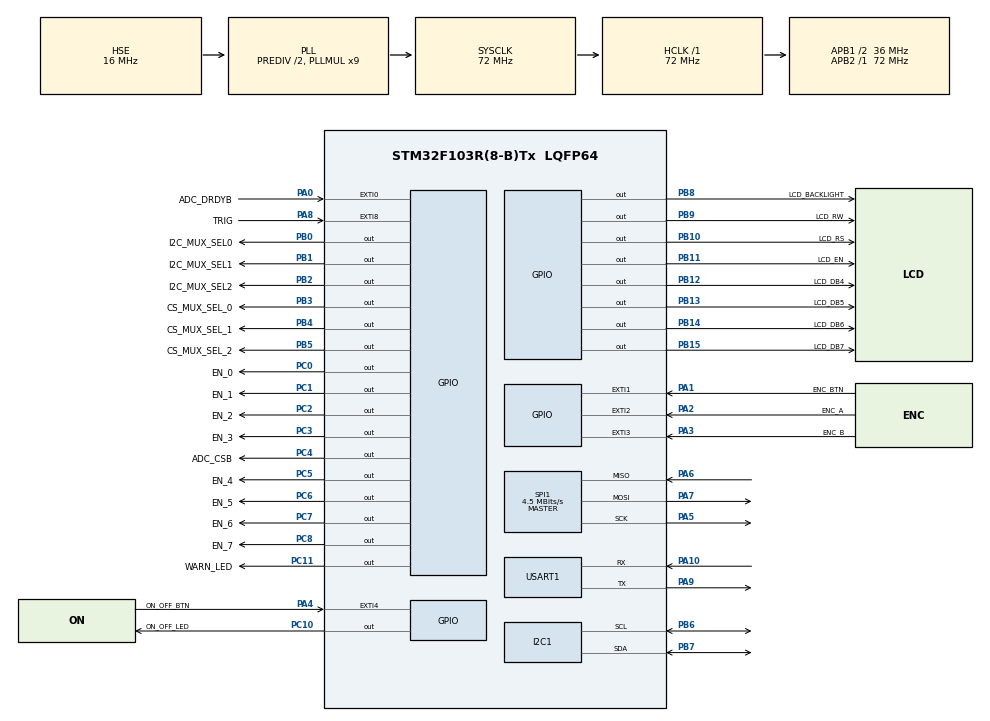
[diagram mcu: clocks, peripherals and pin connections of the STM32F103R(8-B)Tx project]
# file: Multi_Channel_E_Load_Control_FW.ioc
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Mcu.Family=STM32F1
Mcu.Name=STM32F103R(8-B)Tx
Mcu.Package=LQFP64
NVIC.I2C1_ER_IRQn=true\:0\:0\:false\:false\:true\:true\:true\:true
NVIC.I2C1_EV_IRQn=true\:0\:0\:false\:false\:true\:true\:true\:true
NVIC.PriorityGroup=NVIC_PRIORITYGROUP_4
NVIC.TIM1_BRK_IRQn=true\:0\:0\:false\:false\:true\:true\:true\:true
NVIC.TIM1_CC_IRQn=true\:0\:0\:false\:false\:true\:true\:true\:true
NVIC.TIM1_TRG_COM_IRQn=true\:0\:0\:false\:false\:true\:true\:true\:true
NVIC.TIM1_UP_IRQn=true\:0\:0\:false\:false\:true\:true\:true\:true
PA0-WKUP.GPIO_Label=ADC_DRDYB
PA0-WKUP.GPIO_ModeDefaultEXTI=GPIO_MODE_IT_FALLING
PA0-WKUP.GPIO_PuPd=GPIO_PULLUP
PA0-WKUP.Signal=GPXTI0
PA1.GPIO_Label=ENC_BTN
PA1.GPIO_ModeDefaultEXTI=GPIO_MODE_IT_RISING
PA1.GPIO_PuPd=GPIO_NOPULL
PA1.Signal=GPXTI1
PA10.Mode=Asynchronous
PA10.Signal=USART1_RX
PA13.Mode=Serial_Wire
PA13.Signal=SYS_JTMS-SWDIO
PA14.Mode=Serial_Wire
PA14.Signal=SYS_JTCK-SWCLK
PA2.GPIO_Label=ENC_A
PA2.GPIO_ModeDefaultEXTI=GPIO_MODE_IT_RISING_FALLING
PA2.Signal=GPXTI2
PA3.GPIO_Label=ENC_B
PA3.GPIO_ModeDefaultEXTI=GPIO_MODE_IT_RISING_FALLING
PA3.Signal=GPXTI3
PA4.GPIO_Label=ON_OFF_BTN
PA4.Signal=GPXTI4
PA5.Mode=Full_Duplex_Master
PA5.Signal=SPI1_SCK
PA6.Mode=Full_Duplex_Master
PA6.Signal=SPI1_MISO
PA7.Mode=Full_Duplex_Master
PA7.Signal=SPI1_MOSI
PA8.GPIO_Label=TRIG
PA8.GPIO_ModeDefaultEXTI=GPIO_MODE_IT_RISING_FALLING
PA8.Signal=GPXTI8
PA9.Mode=Asynchronous
PA9.Signal=USART1_TX
PB0.GPIO_Label=I2C_MUX_SEL0
PB0.Signal=GPIO_Output
PB1.GPIO_Label=I2C_MUX_SEL1
PB1.Signal=GPIO_Output
PB10.GPIO_Label=LCD_RS
PB10.Signal=GPIO_Output
PB11.GPIO_Label=LCD_EN
PB11.Signal=GPIO_Output
PB12.GPIO_Label=LCD_DB4
PB12.Signal=GPIO_Output
PB13.GPIO_Label=LCD_DB5
PB13.Signal=GPIO_Output
PB14.GPIO_Label=LCD_DB6
PB14.Signal=GPIO_Output
PB15.GPIO_Label=LCD_DB7
PB15.Signal=GPIO_Output
PB2.GPIO_Label=I2C_MUX_SEL2
PB2.Signal=GPIO_Output
PB3.GPIO_Label=CS_MUX_SEL_0
PB3.Signal=GPIO_Output
PB4.GPIO_Label=CS_MUX_SEL_1
PB4.Signal=GPIO_Output
PB5.GPIO_Label=CS_MUX_SEL_2
PB5.Signal=GPIO_Output
PB6.Mode=I2C
PB6.Signal=I2C1_SCL
PB7.Mode=I2C
PB7.Signal=I2C1_SDA
PB8.GPIO_Label=LCD_BACKLIGHT
PB8.Signal=GPIO_Output
PB9.GPIO_Label=LCD_RW
PB9.Signal=GPIO_Output
PC0.GPIO_Label=EN_0
PC0.Signal=GPIO_Output
PC1.GPIO_Label=EN_1
PC1.Signal=GPIO_Output
PC10.GPIO_Label=ON_OFF_LED
PC10.Signal=GPIO_Output
PC11.GPIO_Label=WARN_LED
PC11.Signal=GPIO_Output
PC2.GPIO_Label=EN_2
PC2.Signal=GPIO_Output
PC3.GPIO_Label=EN_3
PC3.Signal=GPIO_Output
PC4.GPIO_Label=ADC_CSB
PC4.PinState=GPIO_PIN_RESET
PC4.Signal=GPIO_Output
PC5.GPIO_Label=EN_4
PC5.Signal=GPIO_Output
PC6.GPIO_Label=EN_5
PC6.Signal=GPIO_Output
PC7.GPIO_Label=EN_6
PC7.Signal=GPIO_Output
PC8.GPIO_Label=EN_7
PC8.Signal=GPIO_Output
PD0-OSC_IN.Mode=HSE-External-Oscillator
PD0-OSC_IN.Signal=RCC_OSC_IN
PD1-OSC_OUT.Mode=HSE-External-Oscillator
PD1-OSC_OUT.Signal=RCC_OSC_OUT
ProjectManager.HeapSize=0x400
ProjectManager.StackSize=0x800
ProjectManager.TargetToolchain=Makefile
RCC.AHBFreq_Value=72000000
RCC.APB1CLKDivider=RCC_HCLK_DIV2
RCC.APB1Freq_Value=36000000
RCC.APB1TimFreq_Value=72000000
RCC.APB2Freq_Value=72000000
RCC.APB2TimFreq_Value=72000000
RCC.HCLKFreq_Value=72000000
RCC.HSEDivPLL=RCC_HSE_PREDIV_DIV2
RCC.HSE_VALUE=16000000
RCC.PLLMUL=RCC_PLL_MUL9
RCC.PLLSourceVirtual=RCC_PLLSOURCE_HSE
RCC.SYSCLKFreq_VALUE=72000000
RCC.SYSCLKSource=RCC_SYSCLKSOURCE_PLLCLK
RCC.USBFreq_Value=72000000
SPI1.BaudRatePrescaler=SPI_BAUDRATEPRESCALER_16
SPI1.CLKPhase=SPI_PHASE_2EDGE
SPI1.CalculateBaudRate=4.5 MBits/s
SPI1.Direction=SPI_DIRECTION_2LINES
SPI1.Mode=SPI_MODE_MASTER
SPI1.VirtualType=VM_MASTER
TIM1.Period=720
USART1.VirtualMode=VM_ASYNC
VP_TIM1_VS_ClockSourceINT.Mode=Internal
board=custom

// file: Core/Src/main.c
/* USER CODE BEGIN Header */
/**
  ******************************************************************************
  * @file           : main.c
  * @brief          : Main program body
  ******************************************************************************
  * @attention
  *
  * Copyright (c) 2023 STMicroelectronics.
  * All rights reserved.
  *
  * This software is licensed under terms that can be found in the LICENSE file
  * in the root directory of this software component.
  * If no LICENSE file comes with this software, it is provided AS-IS.
  *
  ******************************************************************************
  */
/* USER CODE END Header */
#include "main.h"
#include "i2c.h"
#include "spi.h"
#include "tim.h"
#include "usart.h"
#include "gpio.h"

/* USER CODE BEGIN Includes */
#include <math.h>
#include <string.h>
#include <stdbool.h>
#include "ads1120.h"
#include "printf.h"
#include "LCD_Config.h"
#include "LCD.h"
/* USER CODE END Includes */

/* USER CODE BEGIN PD */
#define ADC_INIT_CONFIG   ((ADS1120_MUX_P0_N1 << 24) | (ADS1120_DR_6 << 16) | (ADS1120_VREF_EXT << 8) | (0))
#define VOLT_SNS_MUX_SET  (ADS1120_MUX_P0_N1)
#define CURR_SNS_MUX_SET  (ADS1120_MUX_P2_N3)
#define VIN_DIV           20.0
#define R_SHUNT           0.005
#define V_SHUNT_GAIN      34.0
#define V_CS_GAIN         (33.0/43.0)
#define VIN_MIN           0.5
#define VIN_ENAB_CHANS_HYST 0.1

#define CHAN_COUNT        8
#define DAC_ADDR          (0x0D)
#define DAC_CURR_PER_LSB  0.018975
#define DAC_SETPT_UPDATE_INTERVAL   50000

#define DIR_A_SIGN        (1)
#define DIR_B_SIGN        (0 - DIR_A_SIGN)
#define MAX_CURR_DELTA_MA (500)
#define MIN_DELTA_CURR    (10)
#define CURR_SETPT_MAX    (150.0)

#define I_ERR_ALLOWED     (0.05)

#define LCD_BUF_SIZE          32
#define UPDATE_LCD_INTERVAL   100000
/* USER CODE END PD */

/* USER CODE BEGIN PM */
#define CLAMP(x, min, max)          (x > max ? max : (x < min ? min : x))
#define ADC_VOLTS_TO_CURRENT(vadc)  (vadc/(V_CS_GAIN*V_SHUNT_GAIN*R_SHUNT))
/* USER CODE END PM */

/* USER CODE BEGIN PV */
volatile uint64_t micros = 0;
Ads1120_t adc;
volatile bool poll_adc = false;
int channels_enabled = 0;
volatile int cs_mux_setting = 0;
float curr_samples[CHAN_COUNT];
float curr_sum = 0.0;
volatile uint8_t output_state_req = 0;
uint8_t output_state = 0;
volatile uint64_t enc_edge_ts = 0;
volatile float current_setpt = 0.0;
volatile float current_meas = 0.0;
volatile float vin_meas = 0.0;
volatile int channels_on = 0;
volatile int enc_counts = 0;
volatile bool dac_update_done = false;
volatile int dac_ind = 0;
uint64_t dac_setpt_update_ts = 0;
volatile uint16_t dac_setpts[CHAN_COUNT];
volatile bool dac_update[CHAN_COUNT];
volatile uint64_t i2c_tx_timestamp = 0;
uint64_t update_lcd_ts = 0;
uint8_t lcd_scratch_buf[LCD_BUF_SIZE];
/* USER CODE END PV */

void SystemClock_Config(void);
/* USER CODE BEGIN PFP */
int nabs(int num);
void enable_output();
void hard_disable_output();
void enable_channel(int ind);
void disable_channel(int ind);
void enable_disable_channels(int chans);
void set_cs_mux(int mux);
void update_lcd(int line);
bool begin_update_dacs();
void write_dac(int dac_ind, uint16_t data);
/* USER CODE END PFP */

int main(void)
{

  /* MCU Configuration--------------------------------------------------------*/

  /* Reset of all peripherals, Initializes the Flash interface and the Systick. */
  HAL_Init();

  /* Configure the system clock */
  SystemClock_Config();

  /* Initialize all configured peripherals */
  MX_GPIO_Init();
  MX_I2C1_Init();
  MX_SPI1_Init();
  MX_USART1_UART_Init();
  MX_TIM1_Init();
  /* USER CODE BEGIN 2 */

  adc.cs_port = ADC_CSB_GPIO_Port;
  adc.cs_pin = ADC_CSB_Pin;
  adc.hspi = &hspi1;
  adc.vref = 2.5;
  ads_reset(&adc);
  HAL_Delay(10);
  ads_begin(&adc, ADC_INIT_CONFIG);
  ads_set_input_mux(&adc, VOLT_SNS_MUX_SET);
  ads_start_sync(&adc);

  LCD_Init();
  LCD_Puts(0, 0, "Booting...");

  enable_disable_channels(0); // disable all channels to begin with

  HAL_TIM_Base_Start_IT(&htim1); // start microsecond timer
  /* USER CODE END 2 */

  /* Infinite loop */
  while (1)
  {

    /* USER CODE BEGIN 3 */

    // If requested output state has changed from the actual state
    if (output_state_req && !output_state){
      if (vin_meas > VIN_MIN + VIN_ENAB_CHANS_HYST){
        enable_output();
      }
    } else if (!output_state_req && output_state){
      hard_disable_output();
    }

    // things to do when output is enabled
    if (output_state){
      // If VIN has drooped too low, hard-disable the output
      if(vin_meas < VIN_MIN - VIN_ENAB_CHANS_HYST){
        hard_disable_output(); // hard disables the output
        // as long as output_state_req is TRUE, we will try to turn back on
        // once vin_meas goes above the enable threshold
      } else if (micros - dac_setpt_update_ts > DAC_SETPT_UPDATE_INTERVAL) {
        float curr_err = current_setpt - current_meas;
        if (fabs(curr_err) > I_ERR_ALLOWED){
          // calculate how many LSBs of change we need
          int dac_lsbs = (int)((curr_err / DAC_CURR_PER_LSB) + 0.5);
          int16_t lsbs_per_dac = dac_lsbs / CHAN_COUNT;
          int extra_lsbs = nabs(dac_lsbs) % CHAN_COUNT;
          for (int i = 0; i < CHAN_COUNT; i++){
            int16_t setpt = (int16_t)dac_setpts[i];
            setpt += lsbs_per_dac;
            if (i < extra_lsbs){
              setpt += (curr_err >= 0.0 ? 1 : -1);
            }
            if (setpt > 1023){
              dac_setpts[i] = 1023;
            } else if (setpt < 0){
              setpt = 0;
            }
            dac_setpts[i] = (uint16_t)setpt;
          }
          int timeout = 0;
          while (!begin_update_dacs() && timeout < 100){
            timeout++;
            HAL_Delay(1);
          }
        }
        dac_setpt_update_ts = micros;
      }
    }

    if (micros - i2c_tx_timestamp > 100000){
      // if we're hung up in some bad state, abort
      if (HAL_I2C_GetState(&hi2c1) != HAL_OK){
        HAL_I2C_Master_Abort_IT(&hi2c1, DAC_ADDR << 1);
      }
    }
    if (micros - update_lcd_ts > UPDATE_LCD_INTERVAL){
      update_lcd(0);
      update_lcd(1);
      update_lcd(2);
      update_lcd(3);
      update_lcd_ts = micros;
    }

    if (poll_adc){
      float adc_volts = ads_get_voltage(&adc);
      if (adc.mux_setting == VOLT_SNS_MUX_SET){
        // this is our voltage sensing
        vin_meas = VIN_DIV * adc_volts;
        ads_set_input_mux(&adc, CURR_SNS_MUX_SET);
        ads_start_sync(&adc);
      }else{
        curr_samples[cs_mux_setting] = ADC_VOLTS_TO_CURRENT(adc_volts);
        curr_sum += curr_samples[cs_mux_setting];
        cs_mux_setting++;
        if(cs_mux_setting >= CHAN_COUNT){
          current_meas = curr_sum;
          curr_sum = 0.0;
          cs_mux_setting = 0;
          ads_set_input_mux(&adc, VOLT_SNS_MUX_SET);
        }
        set_cs_mux(cs_mux_setting);
        ads_start_sync(&adc);
      }
      poll_adc = false;
    }
  }
  /* USER CODE END 3 */
}

void SystemClock_Config(void)
{
  RCC_OscInitTypeDef RCC_OscInitStruct = {0};
  RCC_ClkInitTypeDef RCC_ClkInitStruct = {0};

  /** Initializes the RCC Oscillators according to the specified parameters
  * in the RCC_OscInitTypeDef structure.
  */
  RCC_OscInitStruct.OscillatorType = RCC_OSCILLATORTYPE_HSE;
  RCC_OscInitStruct.HSEState = RCC_HSE_ON;
  RCC_OscInitStruct.HSEPredivValue = RCC_HSE_PREDIV_DIV2;
  RCC_OscInitStruct.HSIState = RCC_HSI_ON;
  RCC_OscInitStruct.PLL.PLLState = RCC_PLL_ON;
  RCC_OscInitStruct.PLL.PLLSource = RCC_PLLSOURCE_HSE;
  RCC_OscInitStruct.PLL.PLLMUL = RCC_PLL_MUL9;
  if (HAL_RCC_OscConfig(&RCC_OscInitStruct) != HAL_OK)
  {
    Error_Handler();
  }

  /** Initializes the CPU, AHB and APB buses clocks
  */
  RCC_ClkInitStruct.ClockType = RCC_CLOCKTYPE_HCLK|RCC_CLOCKTYPE_SYSCLK
                              |RCC_CLOCKTYPE_PCLK1|RCC_CLOCKTYPE_PCLK2;
  RCC_ClkInitStruct.SYSCLKSource = RCC_SYSCLKSOURCE_PLLCLK;
  RCC_ClkInitStruct.AHBCLKDivider = RCC_SYSCLK_DIV1;
  RCC_ClkInitStruct.APB1CLKDivider = RCC_HCLK_DIV2;
  RCC_ClkInitStruct.APB2CLKDivider = RCC_HCLK_DIV1;

  if (HAL_RCC_ClockConfig(&RCC_ClkInitStruct, FLASH_LATENCY_2) != HAL_OK)
  {
    Error_Handler();
  }
}

/* USER CODE BEGIN 4 */

int nabs(int num){
  if (num < 0){
    return 0 - num;
  } else {
    return num;
  }
}

void enable_output(){
  for(int i = 0; i < CHAN_COUNT; i++){
    enable_channel(i);
    dac_setpts[i] = 0;
  }
  output_state = 1;
  begin_update_dacs();
}

/**
 * Hard-disable each load channel
*/
void hard_disable_output(){
  for(int i = 0; i < CHAN_COUNT; i++){
    disable_channel(i);
    dac_setpts[i] = 0;
  }
  output_state = 0;
}

void enable_channel(int ind){
  channels_enabled |= (1 << ind);
  enable_disable_channels(channels_enabled);
}

void disable_channel(int ind){
  channels_enabled &= ~(1 << ind);
  enable_disable_channels(channels_enabled);
}

/**
 * Powers on or off channels flagged by bits in the argument
*/
void enable_disable_channels(int chans){
  HAL_GPIO_WritePin(EN_0_GPIO_Port, EN_0_Pin, chans & 1);
  HAL_GPIO_WritePin(EN_1_GPIO_Port, EN_1_Pin, (chans >> 1) & 1);
  HAL_GPIO_WritePin(EN_2_GPIO_Port, EN_2_Pin, (chans >> 2) & 1);
  HAL_GPIO_WritePin(EN_3_GPIO_Port, EN_3_Pin, (chans >> 3) & 1);
  HAL_GPIO_WritePin(EN_4_GPIO_Port, EN_4_Pin, (chans >> 4) & 1);
  HAL_GPIO_WritePin(EN_5_GPIO_Port, EN_5_Pin, (chans >> 5) & 1);
  HAL_GPIO_WritePin(EN_6_GPIO_Port, EN_6_Pin, (chans >> 6) & 1);
  HAL_GPIO_WritePin(EN_7_GPIO_Port, EN_7_Pin, (chans >> 7) & 1);
}

void set_cs_mux(int mux){
  HAL_GPIO_WritePin(CS_MUX_SEL_0_GPIO_Port, CS_MUX_SEL_0_Pin, mux & 1);
  HAL_GPIO_WritePin(CS_MUX_SEL_1_GPIO_Port, CS_MUX_SEL_1_Pin, (mux >> 1) & 1);
  HAL_GPIO_WritePin(CS_MUX_SEL_2_GPIO_Port, CS_MUX_SEL_2_Pin, (mux >> 2) & 1);
}

void update_lcd(int line){
  if (line == 0){
    if (output_state){
      snprintf(lcd_scratch_buf, LCD_BUF_SIZE, "Imeas:%5.2f A | ON", current_meas);
    } else {
      snprintf(lcd_scratch_buf, LCD_BUF_SIZE, "Imeas:%5.2f A | OFF", current_meas);
    }
    LCD_Puts(0, 0, lcd_scratch_buf);
  } else if (line == 1){
    snprintf(lcd_scratch_buf, LCD_BUF_SIZE, "Iset :%5.2f A | %d", current_setpt, channels_on);
    LCD_Puts(0, 1, lcd_scratch_buf);
  } else if (line == 2){
    snprintf(lcd_scratch_buf, LCD_BUF_SIZE, "Vin  :%5.2f V", vin_meas);
    LCD_Puts(0, 1, lcd_scratch_buf);
  } else if (line == 3){
    snprintf(lcd_scratch_buf, LCD_BUF_SIZE, "Power:%5.2f W", vin_meas * current_meas);
    LCD_Puts(0, 1, lcd_scratch_buf);
  }
}

/**
 * Set-off the update of all DACs
*/
bool begin_update_dacs(){
  dac_ind = 0;
  if (!dac_update_done){
    // we're in the middle of updating the DACs, don't do anything
    return false;
  }
  dac_update_done = false;
  write_dac(dac_ind, dac_setpts[dac_ind]);
  return true;
}

/**
 * Write to a single DAC at the specified dac_ind
*/
void write_dac(int dac_ind, uint16_t data){
  HAL_GPIO_WritePin(I2C_MUX_SEL0_GPIO_Port, I2C_MUX_SEL0_Pin, dac_ind & 1);
  HAL_GPIO_WritePin(I2C_MUX_SEL1_GPIO_Port, I2C_MUX_SEL1_Pin, (dac_ind >> 1) & 1);
  HAL_GPIO_WritePin(I2C_MUX_SEL2_GPIO_Port, I2C_MUX_SEL2_Pin, (dac_ind >> 2) & 1);

  uint8_t bytes[2] = {0};
  bytes[0] = (data >> 8) & 0xFF;
  bytes[1] = data & 0xFF;
  i2c_tx_timestamp = micros;
  HAL_I2C_Master_Transmit_IT(&hi2c1, DAC_ADDR << 1, bytes, 2);
}

void HAL_I2C_MasterTxCpltCallback(I2C_HandleTypeDef *hi2c){
  dac_ind++;
  if (dac_ind < CHAN_COUNT){
    write_dac(dac_ind, dac_setpts[dac_ind]);
  }else{
    dac_update_done = true;
  }
}

void HAL_I2C_AbortCpltCallback(I2C_HandleTypeDef *hi2c){
  HAL_I2C_MasterTxCpltCallback(hi2c);
}

void HAL_GPIO_EXTI_Callback(uint16_t GPIO_Pin){
  if(GPIO_Pin == ENC_A_Pin || GPIO_Pin == ENC_B_Pin){
    // ENCODER THINGS
    int dir = 0;
    if (HAL_GPIO_ReadPin(ENC_A_GPIO_Port, ENC_A_Pin) && !HAL_GPIO_ReadPin(ENC_B_GPIO_Port, ENC_B_Pin)){
      // direction is A
      dir = DIR_A_SIGN;
    } else if ( HAL_GPIO_ReadPin(ENC_B_GPIO_Port, ENC_B_Pin) && !HAL_GPIO_ReadPin(ENC_A_GPIO_Port, ENC_A_Pin)){
      // direction is B
      dir = DIR_B_SIGN;
    } else {
      // something ain't right
      return;
    }
    if (micros < enc_edge_ts){
      // micros has wrapped around
      enc_edge_ts = 0;
    }
    int64_t pulse_period_raw = micros - enc_edge_ts;

    int32_t pulse_period = 1;
    if (pulse_period_raw > INT32_MAX){
      pulse_period = INT32_MAX;
    }
    int32_t delta_curr = 5000000 / pulse_period;

    if (delta_curr < MIN_DELTA_CURR){
      delta_curr = MIN_DELTA_CURR;
    } else if (delta_curr > MAX_CURR_DELTA_MA){
      delta_curr = MAX_CURR_DELTA_MA;
    }

    if (dir < 0){
      current_setpt -= delta_curr/1000.0;
    }else{
      current_setpt += delta_curr/1000.0;
    }
    current_setpt = CLAMP(current_setpt, 0.0, CURR_SETPT_MAX);

    enc_edge_ts = micros;
  } else if (GPIO_Pin == ENC_BTN_Pin){
    // ENC BUTTON THINGS
    output_state_req = !output_state_req;
  } else if (GPIO_Pin == ON_OFF_BTN_Pin){
    // ON-OFF BUTTON THINGS
  } else if (GPIO_Pin == ADC_DRDYB_Pin){
    // ADC THINGS
    poll_adc = true;
  } else if (GPIO_Pin == TRIG_Pin){
    // TRIG BUTTON THINGS
  }

}

void HAL_TIM_PeriodElapsedCallback(TIM_HandleTypeDef *htim){
  micros += 10;
}

/* USER CODE END 4 */

void Error_Handler(void)
{
  __disable_irq();
  while (1)
  {
  }
}
